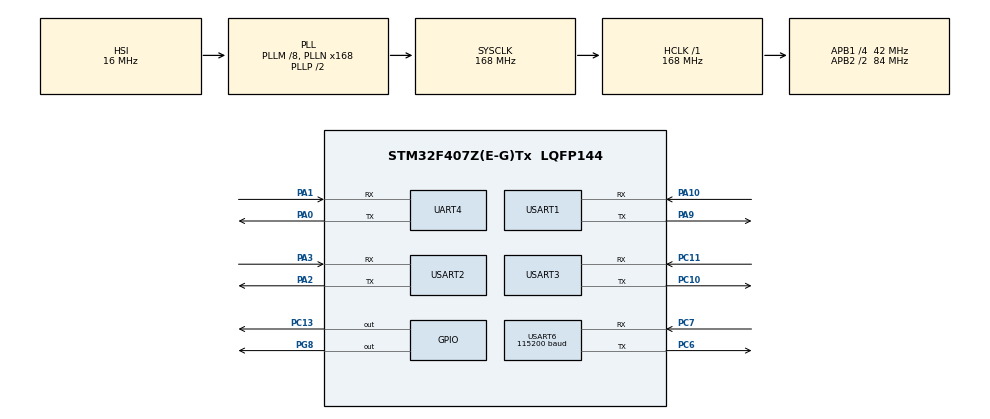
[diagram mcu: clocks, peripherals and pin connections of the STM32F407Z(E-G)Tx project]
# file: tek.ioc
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Dma.Request0=USART1_RX
Dma.Request1=USART1_TX
Dma.USART1_RX.0.Direction=DMA_PERIPH_TO_MEMORY
Dma.USART1_RX.0.FIFOMode=DMA_FIFOMODE_DISABLE
Dma.USART1_RX.0.Instance=DMA2_Stream2
Dma.USART1_RX.0.MemDataAlignment=DMA_MDATAALIGN_BYTE
Dma.USART1_RX.0.MemInc=DMA_MINC_ENABLE
Dma.USART1_RX.0.Mode=DMA_CIRCULAR
Dma.USART1_RX.0.PeriphDataAlignment=DMA_PDATAALIGN_BYTE
Dma.USART1_RX.0.PeriphInc=DMA_PINC_DISABLE
Dma.USART1_RX.0.Priority=DMA_PRIORITY_HIGH
Dma.USART1_TX.1.Direction=DMA_MEMORY_TO_PERIPH
Dma.USART1_TX.1.FIFOMode=DMA_FIFOMODE_DISABLE
Dma.USART1_TX.1.Instance=DMA2_Stream7
Dma.USART1_TX.1.MemDataAlignment=DMA_MDATAALIGN_BYTE
Dma.USART1_TX.1.MemInc=DMA_MINC_ENABLE
Dma.USART1_TX.1.Mode=DMA_NORMAL
Dma.USART1_TX.1.PeriphDataAlignment=DMA_PDATAALIGN_BYTE
Dma.USART1_TX.1.PeriphInc=DMA_PINC_DISABLE
Dma.USART1_TX.1.Priority=DMA_PRIORITY_LOW
FREERTOS.Tasks01=defaultTask,24,1024,StartDefaultTask,Default,NULL,Dynamic,NULL,NULL;myTask02,24,512,StartTask02,Default,NULL,Dynamic,NULL,NULL
FREERTOS.configUSE_NEWLIB_REENTRANT=1
Mcu.Family=STM32F4
Mcu.Name=STM32F407Z(E-G)Tx
Mcu.Package=LQFP144
NVIC.DMA2_Stream2_IRQn=true\:5\:0\:false\:false\:true\:true\:false\:true\:true
NVIC.DMA2_Stream7_IRQn=true\:5\:0\:false\:false\:true\:true\:false\:true\:true
NVIC.PriorityGroup=NVIC_PRIORITYGROUP_4
NVIC.TIM1_UP_TIM10_IRQn=true\:15\:0\:false\:false\:true\:false\:false\:true\:true
NVIC.TimeBase=TIM1_UP_TIM10_IRQn
NVIC.TimeBaseIP=TIM1
NVIC.UART4_IRQn=true\:5\:0\:false\:false\:true\:true\:true\:true\:true
NVIC.USART1_IRQn=true\:5\:0\:false\:false\:true\:true\:true\:true\:true
NVIC.USART2_IRQn=true\:5\:0\:false\:false\:true\:true\:true\:true\:true
NVIC.USART6_IRQn=true\:5\:0\:false\:false\:true\:true\:true\:true\:true
PA0-WKUP.Mode=Asynchronous
PA0-WKUP.Signal=UART4_TX
PA1.Mode=Asynchronous
PA1.Signal=UART4_RX
PA10.Mode=Asynchronous
PA10.Signal=USART1_RX
PA11.Signal=USART1_CTS
PA12.Signal=USART1_RTS
PA13.Mode=Serial_Wire
PA13.Signal=SYS_JTMS-SWDIO
PA14.Mode=Serial_Wire
PA14.Signal=SYS_JTCK-SWCLK
PA2.Mode=Asynchronous
PA2.Signal=USART2_TX
PA3.Mode=Asynchronous
PA3.Signal=USART2_RX
PA9.Mode=Asynchronous
PA9.Signal=USART1_TX
PC10.Mode=Asynchronous
PC10.Signal=USART3_TX
PC11.Mode=Asynchronous
PC11.Signal=USART3_RX
PC13-ANTI_TAMP.Signal=GPIO_Output
PC6.Mode=Asynchronous
PC6.Signal=USART6_TX
PC7.Mode=Asynchronous
PC7.Signal=USART6_RX
PG8.Signal=GPIO_Output
ProjectManager.HeapSize=0x200
ProjectManager.StackSize=0x400
ProjectManager.TargetToolchain=STM32CubeIDE
RCC.48MHZClocksFreq_Value=84000000
RCC.AHBFreq_Value=168000000
RCC.APB1CLKDivider=RCC_HCLK_DIV4
RCC.APB1Freq_Value=42000000
RCC.APB1TimFreq_Value=84000000
RCC.APB2CLKDivider=RCC_HCLK_DIV2
RCC.APB2Freq_Value=84000000
RCC.APB2TimFreq_Value=168000000
RCC.CortexFreq_Value=168000000
RCC.HCLKFreq_Value=168000000
RCC.HSE_VALUE=25000000
RCC.HSI_VALUE=16000000
RCC.LSE_VALUE=32768
RCC.PLLM=8
RCC.PLLN=168
RCC.SYSCLKFreq_VALUE=168000000
RCC.SYSCLKSource=RCC_SYSCLKSOURCE_PLLCLK
RCC.VCOOutputFreq_Value=336000000
UART4.VirtualMode=Asynchronous
USART1.VirtualMode=VM_ASYNC
USART2.VirtualMode=VM_ASYNC
USART3.VirtualMode=VM_ASYNC
USART6.BaudRate=115200
USART6.VirtualMode=VM_ASYNC
VP_FREERTOS_VS_CMSIS_V2.Mode=CMSIS_V2
VP_RTC_VS_RTC_Activate.Mode=RTC_Enabled
VP_SYS_VS_tim1.Mode=TIM1
board=custom

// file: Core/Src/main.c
/* USER CODE BEGIN Header */
/**
 ******************************************************************************
 * @file           : main.c
 * @brief          : Main program body
 ******************************************************************************
 * @attention
 *
 * Copyright (c) 2023 STMicroelectronics.
 * All rights reserved.
 *
 * This software is licensed under terms that can be found in the LICENSE file
 * in the root directory of this software component.
 * If no LICENSE file comes with this software, it is provided AS-IS.
 *
 ******************************************************************************
 */
/* USER CODE END Header */
#include "main.h"
#include "cmsis_os.h"

/* USER CODE BEGIN Includes */
#include "modbus.h"
#include "time.h"
#include "sim.h"
#include "GlobalDataKeeper.h"
#include "task.h"
#include "queue.h"
#include "xmlParse.h"
/* USER CODE END Includes */

/* USER CODE BEGIN PD */
bool modem_flag=false;
bool init_flag=false;
char buffer[500];
int err_flag=0;
string mftest;
typedef struct
{
	union{
		uint16_t regaddres;
		struct{
			uint8_t regaddresLO;
			uint8_t regaddresHI;
		};
	};
	uint8_t func;
	string res;

} test;

test device[10];
void modem_status()
{

	uint32_t sim_start_Delay = 0;

	HAL_UART_Receive_DMA(&huart1,  (uint8_t*)buffer, 500);
	HAL_Delay(200);
	//	if(strstr(buffer,"LOG"))
	//	{
	//	HAL_UART_Transmit_DMA(&huart2,(uint8_t*)buffer, 500);
	//	}
	//else
	if(strstr(buffer,"OK"))
	{
		//UARTPrint("MODEM READY\r\n");
		//	glcd_int_puts(modem_ok, 0, 0);
		//			string c;
		//			memcpy(buffer,strstr((char*)buffer,"OK "),50);
		//			for(int i=3;i<100;i++)
		//			{
		//				if(buffer[i]!='\n')
		//				{
		//				c.push_back(buffer[i]);
		//				}
		//				else
		//				{
		//					break;
		//				}
		//			}
		//			pub_count=atoi(c.c_str())%10;
		//			if(pub_count<9)
		//			{
		//				pub_count++;
		//			}
		//			else
		//			{
		//				pub_count=0;
		//			}
//		if(pub_count<3)
//		{
//			pub_count++;
//		}
//		else
//		{
//			pub_count=0;
//		}
		modem_flag=true;
		memset(buffer, 9, sizeof(buffer));
	}
	else
	{
		//UARTPrint("MODEM ERROR\r\n");
		//glcd_int_puts(modem_error, 0, 0);
		//auth_flag=0;
		modem_flag = 0;
	}
	if(strstr(buffer,"INIT"))
	{
		init_flag=true;
		err_flag=0;
	}
	else
	{
		if(err_flag>15)
		{
			init_flag=false;
			err_flag=0;
		}
		err_flag++;
	}

	if(strstr(buffer,"*"))
	{
		if(pub_count<3)
		{
			pub_count++;
		}
		else
		{
			pub_count=0;
		}
		memset(buffer, 9, sizeof(buffer));
		err_flag=0;
	}
	else if(strstr(buffer,"+CIPRXGET:"))
	{
		//	memcpy(buffer,strstr(buffer,"999999"),200);

		int j=0;
		string mess;
		string topic;
		int len1=0;
		int len2=0;

		for(int i=0;i<180;i++)
		{
			if(buffer[i]=='9'&&buffer[i]=='9'&&buffer[i]=='9'&&buffer[i]=='9'&&buffer[i]=='9'&&buffer[i]=='9')
			{
				for(int ii=i;ii<180;ii++)
				{
					if(buffer[ii]=='/')
					{
						topic.push_back(buffer[ii+4]);
						topic.push_back(buffer[ii+5]);
						topic.push_back(buffer[ii+6]);
						topic.push_back(buffer[ii+7]);
						topic.push_back(buffer[ii+8]);
						topic.push_back(buffer[ii+9]);
						mess.push_back(buffer[ii+10]);
						mess.push_back(buffer[ii+11]);
						mess.push_back(buffer[ii+12]);
						mess.push_back(buffer[ii+13]);
						break;
					}
				}
				string reg = topic.substr(topic.find("x")+1, 4);
				std::stringstream ss;
				uint16_t add;
				ss << std::hex << reg;
				ss >> add;

				std::stringstream ss1;
				uint16_t data1;
				data1=atoi(mess.c_str());
				uint8_t data[2];
				data[0]=(data1>>8)&0xFF;
				data[1]=data1&0xFF;
				write_modbus(0x01,0x10, (add>>8)&0xFF,add&0xFF, 1,data);
				memset(buffer, 9, sizeof(buffer));
				break;
			}
		}

	}
	else
	{
		if(err_flag>15)
		{
			init_flag=false;
			err_flag=0;
		}
		err_flag++;
	}
	//	if(HAL_GetTick() > sim_start_Delay && status_SIM == 0) //ресетим модем если он завис
	//	{
	//		sim_start_Delay = HAL_GetTick()+ 30000;
	//		//UARTPrint("MODEM RESET\r\n");
	//		//ресетим модем
	//		//PC2 - on/off питание modem
	//		//PC3 - reset modem
	//		HAL_GPIO_WritePin(GPIOC, GPIO_PIN_3, GPIO_PIN_SET);
	//		HAL_Delay(100);
	//		HAL_GPIO_WritePin(GPIOC, GPIO_PIN_3, GPIO_PIN_RESET);
	//	}
}
//void modem_status()
//{
//
//	uint32_t sim_start_Delay = 0;
//
//	HAL_UART_Receive_DMA(&huart1,  (uint8_t*)buffer, 5);
//	HAL_Delay(200);
////	if(strstr(buffer,"LOG"))
////	{
////	HAL_UART_Transmit_DMA(&huart2,(uint8_t*)buffer, 500);
////	}
//	//else
//		if(strstr(buffer,"OK"))
//	{
//		//UARTPrint("MODEM READY\r\n");
//		//	glcd_int_puts(modem_ok, 0, 0);
//			if(pub_count<10)
//			{
//				pub_count++;
//			}
//			else
//			{
//				pub_count=0;
//			}
//			memset(buffer, 9, sizeof(buffer));
//		modem_flag=true;
//	//	memset(buffer, 9, sizeof(buffer));
//	}
//	else
//	{
//		//UARTPrint("MODEM ERROR\r\n");
//		//glcd_int_puts(modem_error, 0, 0);
//		//auth_flag=0;
//		modem_flag = 0;
//	}
//	if(strstr(buffer,"INIT"))
//	{
//		init_flag=true;
//		err_flag=0;
//	}
//	else
//	{
//		if(err_flag>15)
//		{
//			init_flag=false;
//			err_flag=0;
//		}
//		err_flag++;
//	}
//
//	if(strstr(buffer,"PUB"))
//	{
//
//		memset(buffer, 9, sizeof(buffer));
//		err_flag=0;
//	}
//	else
//	{
//		if(err_flag>15)
//		{
//			init_flag=false;
//			err_flag=0;
//		}
//		err_flag++;
//	}
//	//	if(HAL_GetTick() > sim_start_Delay && status_SIM == 0) //ресетим модем если он завис
//	//	{
//	//		sim_start_Delay = HAL_GetTick()+ 30000;
//	//		//UARTPrint("MODEM RESET\r\n");
//	//		//ресетим модем
//	//		//PC2 - on/off питание modem
//	//		//PC3 - reset modem
//	//		HAL_GPIO_WritePin(GPIOC, GPIO_PIN_3, GPIO_PIN_SET);
//	//		HAL_Delay(100);
//	//		HAL_GPIO_WritePin(GPIOC, GPIO_PIN_3, GPIO_PIN_RESET);
//	//	}
//}
/* USER CODE END PD */

RTC_HandleTypeDef hrtc;

UART_HandleTypeDef huart4;
UART_HandleTypeDef huart1;
UART_HandleTypeDef huart2;
UART_HandleTypeDef huart3;
UART_HandleTypeDef huart6;
DMA_HandleTypeDef hdma_usart1_rx;
DMA_HandleTypeDef hdma_usart1_tx;

/* Definitions for defaultTask */
osThreadId_t defaultTaskHandle;
const osThreadAttr_t defaultTask_attributes = {
  .name = "defaultTask",
  .stack_size = 1024 * 4,
  .priority = (osPriority_t) osPriorityNormal,
};

void SystemClock_Config(void);
static void MX_GPIO_Init(void);
static void MX_DMA_Init(void);
static void MX_UART4_Init(void);
static void MX_USART1_UART_Init(void);
static void MX_USART2_UART_Init(void);
static void MX_USART6_UART_Init(void);
static void MX_USART3_UART_Init(void);
static void MX_RTC_Init(void);
void StartDefaultTask(void *argument);

/* USER CODE BEGIN 0 */
GlobalDataKeeper data;
string modemRx;
vector<device_conf>  dev __attribute__((section(".ccmram")));

//device_conf  dev[400] __attribute__((section(".ccmram")));
xQueueHandle modbus_to_mqtt_queue;
xQueueHandle mqtt_to_modbus_queue;

/* USER CODE END 0 */

int main(void)
{

  /* MCU Configuration--------------------------------------------------------*/

  /* Reset of all peripherals, Initializes the Flash interface and the Systick. */
  HAL_Init();

  /* Configure the system clock */
  SystemClock_Config();

  /* Initialize all configured peripherals */
  MX_GPIO_Init();
  MX_DMA_Init();
  MX_UART4_Init();
  MX_USART1_UART_Init();
  MX_USART2_UART_Init();
  MX_USART6_UART_Init();
  MX_USART3_UART_Init();
  MX_RTC_Init();

  /* Init scheduler */
  osKernelInitialize();

  /* Create the thread(s) */
  /* creation of defaultTask */
  defaultTaskHandle = osThreadNew(StartDefaultTask, NULL, &defaultTask_attributes);

  /* USER CODE BEGIN RTOS_EVENTS */
	/* add events, ... */

	modbus_to_mqtt_queue =xQueueCreate( 128, sizeof( unsigned char ) );
	mqtt_to_modbus_queue=xQueueCreate( 128, sizeof( unsigned char ) );

  /* USER CODE END RTOS_EVENTS */

  /* Start scheduler */
  osKernelStart();

  /* We should never get here as control is now taken by the scheduler */
  /* Infinite loop */
	while (1)
	{

	}
}

void SystemClock_Config(void)
{
  RCC_OscInitTypeDef RCC_OscInitStruct = {0};
  RCC_ClkInitTypeDef RCC_ClkInitStruct = {0};

  /** Configure the main internal regulator output voltage
  */
  __HAL_RCC_PWR_CLK_ENABLE();
  __HAL_PWR_VOLTAGESCALING_CONFIG(PWR_REGULATOR_VOLTAGE_SCALE1);

  /** Initializes the RCC Oscillators according to the specified parameters
  * in the RCC_OscInitTypeDef structure.
  */
  RCC_OscInitStruct.OscillatorType = RCC_OSCILLATORTYPE_HSI|RCC_OSCILLATORTYPE_LSI;
  RCC_OscInitStruct.HSIState = RCC_HSI_ON;
  RCC_OscInitStruct.HSICalibrationValue = RCC_HSICALIBRATION_DEFAULT;
  RCC_OscInitStruct.LSIState = RCC_LSI_ON;
  RCC_OscInitStruct.PLL.PLLState = RCC_PLL_ON;
  RCC_OscInitStruct.PLL.PLLSource = RCC_PLLSOURCE_HSI;
  RCC_OscInitStruct.PLL.PLLM = 8;
  RCC_OscInitStruct.PLL.PLLN = 168;
  RCC_OscInitStruct.PLL.PLLP = RCC_PLLP_DIV2;
  RCC_OscInitStruct.PLL.PLLQ = 4;
  if (HAL_RCC_OscConfig(&RCC_OscInitStruct) != HAL_OK)
  {
    Error_Handler();
  }

  /** Initializes the CPU, AHB and APB buses clocks
  */
  RCC_ClkInitStruct.ClockType = RCC_CLOCKTYPE_HCLK|RCC_CLOCKTYPE_SYSCLK
                              |RCC_CLOCKTYPE_PCLK1|RCC_CLOCKTYPE_PCLK2;
  RCC_ClkInitStruct.SYSCLKSource = RCC_SYSCLKSOURCE_PLLCLK;
  RCC_ClkInitStruct.AHBCLKDivider = RCC_SYSCLK_DIV1;
  RCC_ClkInitStruct.APB1CLKDivider = RCC_HCLK_DIV4;
  RCC_ClkInitStruct.APB2CLKDivider = RCC_HCLK_DIV2;

  if (HAL_RCC_ClockConfig(&RCC_ClkInitStruct, FLASH_LATENCY_5) != HAL_OK)
  {
    Error_Handler();
  }
}

static void MX_RTC_Init(void)
{

  /** Initialize RTC Only
  */
  hrtc.Instance = RTC;
  hrtc.Init.HourFormat = RTC_HOURFORMAT_24;
  hrtc.Init.AsynchPrediv = 127;
  hrtc.Init.SynchPrediv = 255;
  hrtc.Init.OutPut = RTC_OUTPUT_DISABLE;
  hrtc.Init.OutPutPolarity = RTC_OUTPUT_POLARITY_HIGH;
  hrtc.Init.OutPutType = RTC_OUTPUT_TYPE_OPENDRAIN;
  if (HAL_RTC_Init(&hrtc) != HAL_OK)
  {
    Error_Handler();
  }

}

static void MX_UART4_Init(void)
{

  huart4.Instance = UART4;
  huart4.Init.BaudRate = 115200;
  huart4.Init.WordLength = UART_WORDLENGTH_8B;
  huart4.Init.StopBits = UART_STOPBITS_1;
  huart4.Init.Parity = UART_PARITY_NONE;
  huart4.Init.Mode = UART_MODE_TX_RX;
  huart4.Init.HwFlowCtl = UART_HWCONTROL_NONE;
  huart4.Init.OverSampling = UART_OVERSAMPLING_16;
  if (HAL_UART_Init(&huart4) != HAL_OK)
  {
    Error_Handler();
  }

}

static void MX_USART1_UART_Init(void)
{

  huart1.Instance = USART1;
  huart1.Init.BaudRate = 115200;
  huart1.Init.WordLength = UART_WORDLENGTH_8B;
  huart1.Init.StopBits = UART_STOPBITS_1;
  huart1.Init.Parity = UART_PARITY_NONE;
  huart1.Init.Mode = UART_MODE_TX_RX;
  huart1.Init.HwFlowCtl = UART_HWCONTROL_NONE;
  huart1.Init.OverSampling = UART_OVERSAMPLING_16;
  if (HAL_UART_Init(&huart1) != HAL_OK)
  {
    Error_Handler();
  }

}

static void MX_USART2_UART_Init(void)
{

  huart2.Instance = USART2;
  huart2.Init.BaudRate = 115200;
  huart2.Init.WordLength = UART_WORDLENGTH_8B;
  huart2.Init.StopBits = UART_STOPBITS_1;
  huart2.Init.Parity = UART_PARITY_NONE;
  huart2.Init.Mode = UART_MODE_TX_RX;
  huart2.Init.HwFlowCtl = UART_HWCONTROL_NONE;
  huart2.Init.OverSampling = UART_OVERSAMPLING_16;
  if (HAL_UART_Init(&huart2) != HAL_OK)
  {
    Error_Handler();
  }

}

static void MX_USART3_UART_Init(void)
{

  huart3.Instance = USART3;
  huart3.Init.BaudRate = 115200;
  huart3.Init.WordLength = UART_WORDLENGTH_8B;
  huart3.Init.StopBits = UART_STOPBITS_1;
  huart3.Init.Parity = UART_PARITY_NONE;
  huart3.Init.Mode = UART_MODE_TX_RX;
  huart3.Init.HwFlowCtl = UART_HWCONTROL_NONE;
  huart3.Init.OverSampling = UART_OVERSAMPLING_16;
  if (HAL_UART_Init(&huart3) != HAL_OK)
  {
    Error_Handler();
  }

}

static void MX_USART6_UART_Init(void)
{

  huart6.Instance = USART6;
  huart6.Init.BaudRate = 115200;
  huart6.Init.WordLength = UART_WORDLENGTH_8B;
  huart6.Init.StopBits = UART_STOPBITS_1;
  huart6.Init.Parity = UART_PARITY_NONE;
  huart6.Init.Mode = UART_MODE_TX_RX;
  huart6.Init.HwFlowCtl = UART_HWCONTROL_NONE;
  huart6.Init.OverSampling = UART_OVERSAMPLING_16;
  if (HAL_UART_Init(&huart6) != HAL_OK)
  {
    Error_Handler();
  }

}

static void MX_DMA_Init(void)
{

  /* DMA controller clock enable */
  __HAL_RCC_DMA2_CLK_ENABLE();

  /* DMA interrupt init */
  /* DMA2_Stream2_IRQn interrupt configuration */
  HAL_NVIC_SetPriority(DMA2_Stream2_IRQn, 5, 0);
  HAL_NVIC_EnableIRQ(DMA2_Stream2_IRQn);
  /* DMA2_Stream7_IRQn interrupt configuration */
  HAL_NVIC_SetPriority(DMA2_Stream7_IRQn, 5, 0);
  HAL_NVIC_EnableIRQ(DMA2_Stream7_IRQn);

}

static void MX_GPIO_Init(void)
{
  GPIO_InitTypeDef GPIO_InitStruct = {0};

  /* GPIO Ports Clock Enable */
  __HAL_RCC_GPIOC_CLK_ENABLE();
  __HAL_RCC_GPIOA_CLK_ENABLE();
  __HAL_RCC_GPIOG_CLK_ENABLE();

  /*Configure GPIO pin Output Level */
  HAL_GPIO_WritePin(GPIOC, GPIO_PIN_13, GPIO_PIN_RESET);

  /*Configure GPIO pin Output Level */
  HAL_GPIO_WritePin(GPIOG, GPIO_PIN_8, GPIO_PIN_RESET);

  /*Configure GPIO pin : PC13 */
  GPIO_InitStruct.Pin = GPIO_PIN_13;
  GPIO_InitStruct.Mode = GPIO_MODE_OUTPUT_PP;
  GPIO_InitStruct.Pull = GPIO_NOPULL;
  GPIO_InitStruct.Speed = GPIO_SPEED_FREQ_LOW;
  HAL_GPIO_Init(GPIOC, &GPIO_InitStruct);

  /*Configure GPIO pin : PG8 */
  GPIO_InitStruct.Pin = GPIO_PIN_8;
  GPIO_InitStruct.Mode = GPIO_MODE_OUTPUT_PP;
  GPIO_InitStruct.Pull = GPIO_NOPULL;
  GPIO_InitStruct.Speed = GPIO_SPEED_FREQ_LOW;
  HAL_GPIO_Init(GPIOG, &GPIO_InitStruct);

}

/* USER CODE BEGIN 4 */
string res;
RTC_InitTypeDef rtc;
RTC_TimeTypeDef time_op;
int polled_reg=0;
int pub_count=0;

/* USER CODE END 4 */

void StartDefaultTask(void *argument)
{
  /* USER CODE BEGIN 5 */

	uint8_t buf[10];

	int read_modbus_count=0;
	device[0].regaddres=0x00FE;
	device[0].func=0x04;
	//	device[1].regaddres=0x0102;
	//	device[1].func=0x04;
	//	device[2].regaddresHI=0x01;
	//	device[2].regaddresLO=0x03;
	//	device[2].func=0x04;
	//	device[3].regaddresHI=0x01;
	//	device[3].regaddresLO=0x04;
	//	device[3].func=0x04;
	//	device[4].regaddresHI=0x01;
	//	device[4].regaddresLO=0x05;
	//	device[4].func=0x04;
	//	device[5].regaddresHI=0x00;
	//	device[5].regaddresLO=0xFF;
	//	device[5].func=0x04;
	//	device[6].regaddresHI=0x01;
	//	device[6].regaddresLO=0x01;
	//	device[6].func=0x04;
	device[1].regaddresHI=0x04;
	device[1].regaddresLO=0x0E;
	device[1].func=0x03;
	device[2].regaddresHI=0x04;
	device[2].regaddresLO=0x0D;
	device[2].func=0x03;
	device[3].regaddresHI=0x04;
	device[3].regaddresLO=0x0C;
	device[3].func=0x03;
	//	uint8_t datatest[2]={0xFF,0xFF};
	//	uint8_t regaddresHI[10]={0x00,0x01,0x01,0x01,0x01,0x00,0x01,0x04,0x04,0x04};
	//	uint8_t regaddresLO[10]={0xFE,0x02,0x03,0x04,0x05,0xFF,0x01,0x0E,0x0D,0x0C};
	uint32_t del=0;
	/* Infinite loop */
	for(;;)
	{

		//write_modbus(0x01, 0x00, 0x01, 1, datatest);
		//osDelay(500);
		string topic;
		char top[10];
		modem_status();
		sprintf(top,"%01Xx%02X%02X",device[pub_count].func,device[pub_count].regaddresHI,device[pub_count].regaddresLO);
		//topic ="1001999/1/";
		topic ="999999/1/";
		topic+=top;

		//device[read_modbus_count].res=read_modbus(0x01,device[read_modbus_count].regaddresHI,device[read_modbus_count].regaddresLO,device[read_modbus_count].func, 1);
		if(read_modbus_count<3)
		{
			read_modbus_count++;
		}
		else
		{
			//mqtt_init("999999/Modem/MB_ConnStat", "OK","");
			read_modbus_count=0;
		}
		device[read_modbus_count].res=read_modbus(0x01,device[read_modbus_count].regaddresHI,device[read_modbus_count].regaddresLO,device[read_modbus_count].func, 1);
		if(modem_flag)
		{
			//char send_modem[512];
			mftest=device[pub_count].res;
			//mftest=device[pub_count].res;

			MQTT_SUB("999999/1//#");
			//sprintf(send_modem,"sub: %s\n\r",buffer_sub);
			HAL_UART_Transmit_DMA(&huart1, (uint8_t*)buffer_sub, sub_len+20);
			HAL_Delay(70);

			if(!mftest.empty())
			{
				sendMQTTConnect("bob","GG168jcbD");
				//sprintf(send_modem,"ini: %s\n\r",packet);
				HAL_UART_Transmit_DMA(&huart1, (uint8_t*)packet, packetSize+20);
				HAL_Delay(70);
				publishMessage(topic, mftest);
				//	sprintf(send_modem,"pub: %s\n\r",buffer_pub);
				HAL_UART_Transmit_DMA(&huart1, (uint8_t*)buffer_pub, buflen+40);
				HAL_Delay(70);
			}

		}
		//		write_modbus(0x01, 0x00, 0x01, 1, datatest);
		//		osDelay(500);
		//		mftest=read_modbus(0x01, 0x00, 0x01, 1);
		HAL_GPIO_TogglePin(GPIOC, GPIO_PIN_13);
		osDelay(10);
	}
  /* USER CODE END 5 */
}

void HAL_TIM_PeriodElapsedCallback(TIM_HandleTypeDef *htim)
{
  if (htim->Instance == TIM1) {
    HAL_IncTick();
  }
}

void Error_Handler(void)
{
	__disable_irq();
	while (1)
	{
	}
}
